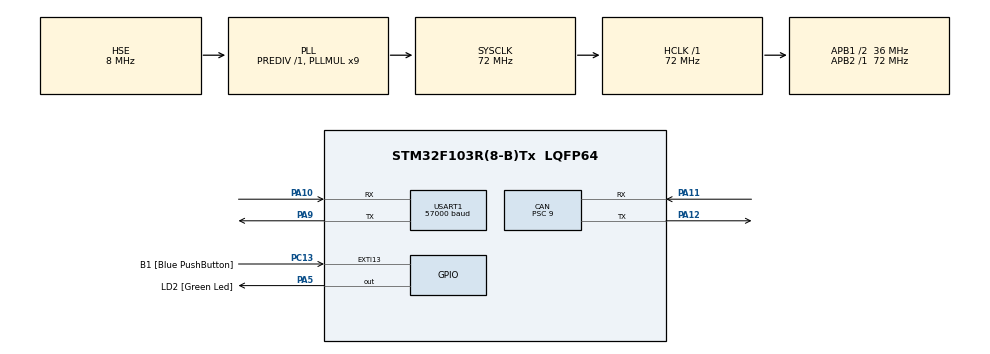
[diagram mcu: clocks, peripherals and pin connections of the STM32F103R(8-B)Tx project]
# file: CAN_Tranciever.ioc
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CAN.BS1=CAN_BS1_13TQ
CAN.BS2=CAN_BS2_2TQ
CAN.CalculateBaudRate=250000
CAN.CalculateTimeBit=4000
CAN.CalculateTimeQuantum=250.0
CAN.Prescaler=9
Mcu.Family=STM32F1
Mcu.Name=STM32F103R(8-B)Tx
Mcu.Package=LQFP64
NVIC.EXTI15_10_IRQn=true\:0\:0\:false\:false\:true\:true\:true\:true
NVIC.PriorityGroup=NVIC_PRIORITYGROUP_4
NVIC.TIM2_IRQn=true\:0\:0\:false\:false\:true\:true\:true\:true
NVIC.USART1_IRQn=true\:0\:0\:false\:false\:true\:true\:true\:true
NVIC.USB_LP_CAN1_RX0_IRQn=true\:0\:0\:false\:false\:true\:true\:true\:true
PA10.Mode=Asynchronous
PA10.Signal=USART1_RX
PA11.GPIO_PuPd=GPIO_PULLUP
PA11.Mode=CAN_Activate
PA11.Signal=CAN_RX
PA12.Mode=CAN_Activate
PA12.Signal=CAN_TX
PA13.GPIO_Label=TMS
PA13.Mode=Serial_Wire
PA13.Signal=SYS_JTMS-SWDIO
PA14.GPIO_Label=TCK
PA14.Mode=Serial_Wire
PA14.Signal=SYS_JTCK-SWCLK
PA2.GPIO_Label=USART_TX
PA2.GPIO_Mode=GPIO_MODE_AF_PP
PA2.GPIO_PuPd=GPIO_NOPULL
PA2.GPIO_Speed=GPIO_SPEED_FREQ_LOW
PA2.Signal=USART2_TX
PA3.GPIO_Label=USART_RX
PA3.GPIO_Mode=GPIO_MODE_AF_PP
PA3.GPIO_PuPd=GPIO_NOPULL
PA3.GPIO_Speed=GPIO_SPEED_FREQ_LOW
PA3.Signal=USART2_RX
PA5.GPIO_Label=LD2 [Green Led]
PA5.GPIO_ModeDefaultOutputPP=GPIO_MODE_OUTPUT_PP
PA5.GPIO_PuPd=GPIO_NOPULL
PA5.GPIO_Speed=GPIO_SPEED_FREQ_LOW
PA5.Signal=GPIO_Output
PA9.Mode=Asynchronous
PA9.Signal=USART1_TX
PB3.GPIO_Label=SWO
PB3.Signal=SYS_JTDO-TRACESWO
PC13-TAMPER-RTC.GPIO_Label=B1 [Blue PushButton]
PC13-TAMPER-RTC.GPIO_PuPd=GPIO_NOPULL
PC13-TAMPER-RTC.Signal=GPXTI13
PC14-OSC32_IN.Mode=LSE-External-Oscillator
PC14-OSC32_IN.Signal=RCC_OSC32_IN
PC15-OSC32_OUT.Mode=LSE-External-Oscillator
PC15-OSC32_OUT.Signal=RCC_OSC32_OUT
PD0-OSC_IN.Mode=HSE-External-Oscillator
PD0-OSC_IN.Signal=RCC_OSC_IN
PD1-OSC_OUT.Mode=HSE-External-Oscillator
PD1-OSC_OUT.Signal=RCC_OSC_OUT
ProjectManager.HeapSize=0x200
ProjectManager.StackSize=0x400
ProjectManager.TargetToolchain=STM32CubeIDE
RCC.AHBFreq_Value=72000000
RCC.APB1CLKDivider=RCC_HCLK_DIV2
RCC.APB1Freq_Value=36000000
RCC.APB1TimFreq_Value=72000000
RCC.APB2Freq_Value=72000000
RCC.APB2TimFreq_Value=72000000
RCC.HCLKFreq_Value=72000000
RCC.PLLMUL=RCC_PLL_MUL9
RCC.PLLSourceVirtual=RCC_PLLSOURCE_HSE
RCC.RTCClockSelection=RCC_RTCCLKSOURCE_LSE
RCC.SYSCLKFreq_VALUE=72000000
RCC.SYSCLKSource=RCC_SYSCLKSOURCE_PLLCLK
RCC.USBFreq_Value=72000000
TIM2.Period=10000-1
TIM2.Prescaler=7200-1
USART1.BaudRate=57000
USART1.VirtualMode=VM_ASYNC
VP_TIM2_VS_ClockSourceINT.Mode=Internal
board=NUCLEO-F103RB

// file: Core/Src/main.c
n/* USER CODE BEGIN Header */
/**
  ******************************************************************************
  * @file           : main.c
  * @brief          : Main program body
  ******************************************************************************
  * @attention
  *
  * Copyright (c) 2023 STMicroelectronics.
  * All rights reserved.
  *
  * This software is licensed under terms that can be found in the LICENSE file
  * in the root directory of this software component.
  * If no LICENSE file comes with this software, it is provided AS-IS.
  *
  ******************************************************************************
  */
/* USER CODE END Header */
#include "main.h"

/* USER CODE BEGIN Includes */
#define START_B 0x01
#define END_B 0x00
/* USER CODE END Includes */

 CAN_HandleTypeDef hcan;

TIM_HandleTypeDef htim2;

UART_HandleTypeDef huart1;

/* USER CODE BEGIN PV */
CAN_RxHeaderTypeDef RxHeader;

uint8_t RxData[8];
uint32_t countCAN = 0;
uint32_t countUART = 0;
uint32_t countCANf = 0;
uint8_t data[12];
/* USER CODE END PV */

void SystemClock_Config(void);
static void MX_GPIO_Init(void);
static void MX_USART1_UART_Init(void);
static void MX_CAN_Init(void);
static void MX_TIM2_Init(void);

/* USER CODE BEGIN 0 */

void HAL_UART_TxCpltCallback(UART_HandleTypeDef *huart){
	countUART++;
}

void HAL_CAN_RxFifo0MsgPendingCallback(CAN_HandleTypeDef *hcan)
{
	countCAN++;
	HAL_CAN_GetRxMessage(hcan, CAN_RX_FIFO0, &RxHeader, RxData);
	uint32_t canID = RxHeader.ExtId;
	switch(canID){
		// Pack total voltage
		case 0x18FF28F4:
			countCANf++;
			//data[1] = (uint8_t)((canID & 0xFF000000) >> 32);
			//data[2] = (uint8_t)((canID & 0x00FF0000) >> 16);
			data[1] = 0x18;
			data[2] = 0xFF;
			data[3] = RxData[3];
			data[4] = END_B;
			HAL_UART_Transmit_IT (&huart1, data, 5);
			HAL_GPIO_TogglePin(GPIOA, GPIO_PIN_5);
			break;
		// Temperatures
		case 0x18B428F4: //Electric cart temps id
			countCANf++;
			data[1] = 0x18;
			data[2] = 0xB4;
			data[3] = RxData[0];
			data[4] = RxData[1];
			data[5] = RxData[2];
			data[6] = RxData[3];
			data[7] = RxData[4];
			data[8] = RxData[5];
			data[9] = END_B;
			HAL_UART_Transmit_IT (&huart1, data, 10);
			HAL_GPIO_TogglePin(GPIOA, GPIO_PIN_5);
			break;
		// Voltages c1-c4
		case 0x18C828F4:
			countCANf++;
			data[1] = 0x18;
			data[2] = 0xC8;
			data[3] = RxData[0];
			data[4] = RxData[1];
			data[5] = RxData[2];
			data[6] = RxData[3];
			data[7] = RxData[4];
			data[8] = RxData[5];
			data[9] = RxData[6];
			data[10] = RxData[7];
			data[11] = END_B;
			HAL_UART_Transmit_IT (&huart1, data, 12);
			HAL_GPIO_TogglePin(GPIOA, GPIO_PIN_5);
			break;
		// Voltages c5-c8
		case 0x18C928F4:
			countCANf++;
			data[1] = 0x18;
			data[2] = 0xC9;
			data[3] = RxData[0];
			data[4] = RxData[1];
			data[5] = RxData[2];
			data[6] = RxData[3];
			data[7] = RxData[4];
			data[8] = RxData[5];
			data[9] = RxData[6];
			data[10] = RxData[7];
			data[11] = END_B;
			HAL_UART_Transmit_IT (&huart1, data, 12);
			HAL_GPIO_TogglePin(GPIOA, GPIO_PIN_5);
			break;
		// Voltages c9-c12
		case 0x18CA28F4:
			countCANf++;
			data[1] = 0x18;
			data[2] = 0xCA;
			data[3] = RxData[0];
			data[4] = RxData[1];
			data[5] = RxData[2];
			data[6] = RxData[3];
			data[7] = RxData[4];
			data[8] = RxData[5];
			data[9] = RxData[6];
			data[10] = RxData[7];
			data[11] = END_B;
			HAL_UART_Transmit_IT (&huart1, data, 12);
			HAL_GPIO_TogglePin(GPIOA, GPIO_PIN_5);
			break;
		// Voltages c13-c14
		case 0x18CB28F4:
			countCANf++;
			data[1] = 0x18;
			data[2] = 0xCB;
			data[3] = RxData[0];
			data[4] = RxData[1];
			data[5] = RxData[2];
			data[6] = RxData[3];
			data[7] = END_B;
			HAL_UART_Transmit_IT (&huart1, data, 8);
			HAL_GPIO_TogglePin(GPIOA, GPIO_PIN_5);
			break;
		// Pack current
	}
}
/* USER CODE END 0 */

int main(void)
{
  /* USER CODE BEGIN 1 */
	data[0]=START_B;

  /* USER CODE END 1 */

  /* MCU Configuration--------------------------------------------------------*/

  /* Reset of all peripherals, Initializes the Flash interface and the Systick. */
  HAL_Init();

  /* Configure the system clock */
  SystemClock_Config();

  /* Initialize all configured peripherals */
  MX_GPIO_Init();
  MX_USART1_UART_Init();
  MX_CAN_Init();
  MX_TIM2_Init();
  /* USER CODE BEGIN 2 */

  // CAN
  HAL_CAN_Start(&hcan);
  HAL_Delay(50);
  if (HAL_CAN_ActivateNotification(&hcan, CAN_IT_RX_FIFO0_MSG_PENDING) != HAL_OK)
  {
	  Error_Handler();
  }

  /* USER CODE END 2 */

  /* Infinite loop */
  while (1)
  {

  }
}

void SystemClock_Config(void)
{
  RCC_OscInitTypeDef RCC_OscInitStruct = {0};
  RCC_ClkInitTypeDef RCC_ClkInitStruct = {0};

  /** Initializes the RCC Oscillators according to the specified parameters
  * in the RCC_OscInitTypeDef structure.
  */
  RCC_OscInitStruct.OscillatorType = RCC_OSCILLATORTYPE_HSE;
  RCC_OscInitStruct.HSEState = RCC_HSE_ON;
  RCC_OscInitStruct.HSEPredivValue = RCC_HSE_PREDIV_DIV1;
  RCC_OscInitStruct.HSIState = RCC_HSI_ON;
  RCC_OscInitStruct.PLL.PLLState = RCC_PLL_ON;
  RCC_OscInitStruct.PLL.PLLSource = RCC_PLLSOURCE_HSE;
  RCC_OscInitStruct.PLL.PLLMUL = RCC_PLL_MUL9;
  if (HAL_RCC_OscConfig(&RCC_OscInitStruct) != HAL_OK)
  {
    Error_Handler();
  }

  /** Initializes the CPU, AHB and APB buses clocks
  */
  RCC_ClkInitStruct.ClockType = RCC_CLOCKTYPE_HCLK|RCC_CLOCKTYPE_SYSCLK
                              |RCC_CLOCKTYPE_PCLK1|RCC_CLOCKTYPE_PCLK2;
  RCC_ClkInitStruct.SYSCLKSource = RCC_SYSCLKSOURCE_PLLCLK;
  RCC_ClkInitStruct.AHBCLKDivider = RCC_SYSCLK_DIV1;
  RCC_ClkInitStruct.APB1CLKDivider = RCC_HCLK_DIV2;
  RCC_ClkInitStruct.APB2CLKDivider = RCC_HCLK_DIV1;

  if (HAL_RCC_ClockConfig(&RCC_ClkInitStruct, FLASH_LATENCY_2) != HAL_OK)
  {
    Error_Handler();
  }
}

static void MX_CAN_Init(void)
{

  hcan.Instance = CAN1;
  hcan.Init.Prescaler = 9;
  hcan.Init.Mode = CAN_MODE_NORMAL;
  hcan.Init.SyncJumpWidth = CAN_SJW_1TQ;
  hcan.Init.TimeSeg1 = CAN_BS1_13TQ;
  hcan.Init.TimeSeg2 = CAN_BS2_2TQ;
  hcan.Init.TimeTriggeredMode = DISABLE;
  hcan.Init.AutoBusOff = DISABLE;
  hcan.Init.AutoWakeUp = DISABLE;
  hcan.Init.AutoRetransmission = DISABLE;
  hcan.Init.ReceiveFifoLocked = DISABLE;
  hcan.Init.TransmitFifoPriority = DISABLE;
  if (HAL_CAN_Init(&hcan) != HAL_OK)
  {
    Error_Handler();
  }
  /* USER CODE BEGIN CAN_Init 2 */

  CAN_FilterTypeDef canfilterconfig;

  canfilterconfig.FilterActivation = CAN_FILTER_ENABLE;
  canfilterconfig.FilterBank = 10;
  canfilterconfig.FilterFIFOAssignment = CAN_RX_FIFO0;
  canfilterconfig.FilterIdHigh = 0; //this tells what to compare the incoming data to
  canfilterconfig.FilterIdLow = 0x0000;
  canfilterconfig.FilterMaskIdHigh = 0; //this tells which bits to compare
  canfilterconfig.FilterMaskIdLow = 0x0000;
  canfilterconfig.FilterMode = CAN_FILTERMODE_IDMASK;
  canfilterconfig.FilterScale = CAN_FILTERSCALE_32BIT;
  canfilterconfig.SlaveStartFilterBank = 13;

  HAL_CAN_ConfigFilter(&hcan, &canfilterconfig);

  /* USER CODE END CAN_Init 2 */

}

static void MX_TIM2_Init(void)
{

  TIM_ClockConfigTypeDef sClockSourceConfig = {0};
  TIM_MasterConfigTypeDef sMasterConfig = {0};

  htim2.Instance = TIM2;
  htim2.Init.Prescaler = 7200-1;
  htim2.Init.CounterMode = TIM_COUNTERMODE_UP;
  htim2.Init.Period = 10000-1;
  htim2.Init.ClockDivision = TIM_CLOCKDIVISION_DIV1;
  htim2.Init.AutoReloadPreload = TIM_AUTORELOAD_PRELOAD_DISABLE;
  if (HAL_TIM_Base_Init(&htim2) != HAL_OK)
  {
    Error_Handler();
  }
  sClockSourceConfig.ClockSource = TIM_CLOCKSOURCE_INTERNAL;
  if (HAL_TIM_ConfigClockSource(&htim2, &sClockSourceConfig) != HAL_OK)
  {
    Error_Handler();
  }
  sMasterConfig.MasterOutputTrigger = TIM_TRGO_RESET;
  sMasterConfig.MasterSlaveMode = TIM_MASTERSLAVEMODE_DISABLE;
  if (HAL_TIMEx_MasterConfigSynchronization(&htim2, &sMasterConfig) != HAL_OK)
  {
    Error_Handler();
  }

}

static void MX_USART1_UART_Init(void)
{

  huart1.Instance = USART1;
  huart1.Init.BaudRate = 57000;
  huart1.Init.WordLength = UART_WORDLENGTH_8B;
  huart1.Init.StopBits = UART_STOPBITS_1;
  huart1.Init.Parity = UART_PARITY_NONE;
  huart1.Init.Mode = UART_MODE_TX_RX;
  huart1.Init.HwFlowCtl = UART_HWCONTROL_NONE;
  huart1.Init.OverSampling = UART_OVERSAMPLING_16;
  if (HAL_UART_Init(&huart1) != HAL_OK)
  {
    Error_Handler();
  }

}

static void MX_GPIO_Init(void)
{
  GPIO_InitTypeDef GPIO_InitStruct = {0};

  /* GPIO Ports Clock Enable */
  __HAL_RCC_GPIOC_CLK_ENABLE();
  __HAL_RCC_GPIOD_CLK_ENABLE();
  __HAL_RCC_GPIOA_CLK_ENABLE();
  __HAL_RCC_GPIOB_CLK_ENABLE();

  /*Configure GPIO pin Output Level */
  HAL_GPIO_WritePin(LD2_GPIO_Port, LD2_Pin, GPIO_PIN_RESET);

  /*Configure GPIO pin : B1_Pin */
  GPIO_InitStruct.Pin = B1_Pin;
  GPIO_InitStruct.Mode = GPIO_MODE_IT_RISING;
  GPIO_InitStruct.Pull = GPIO_NOPULL;
  HAL_GPIO_Init(B1_GPIO_Port, &GPIO_InitStruct);

  /*Configure GPIO pins : USART_TX_Pin USART_RX_Pin */
  GPIO_InitStruct.Pin = USART_TX_Pin|USART_RX_Pin;
  GPIO_InitStruct.Mode = GPIO_MODE_AF_PP;
  GPIO_InitStruct.Speed = GPIO_SPEED_FREQ_LOW;
  HAL_GPIO_Init(GPIOA, &GPIO_InitStruct);

  /*Configure GPIO pin : LD2_Pin */
  GPIO_InitStruct.Pin = LD2_Pin;
  GPIO_InitStruct.Mode = GPIO_MODE_OUTPUT_PP;
  GPIO_InitStruct.Pull = GPIO_NOPULL;
  GPIO_InitStruct.Speed = GPIO_SPEED_FREQ_LOW;
  HAL_GPIO_Init(LD2_GPIO_Port, &GPIO_InitStruct);

  /* EXTI interrupt init*/
  HAL_NVIC_SetPriority(EXTI15_10_IRQn, 0, 0);
  HAL_NVIC_EnableIRQ(EXTI15_10_IRQn);

}

void Error_Handler(void)
{
  __disable_irq();
  while (1)
  {
  }
}
